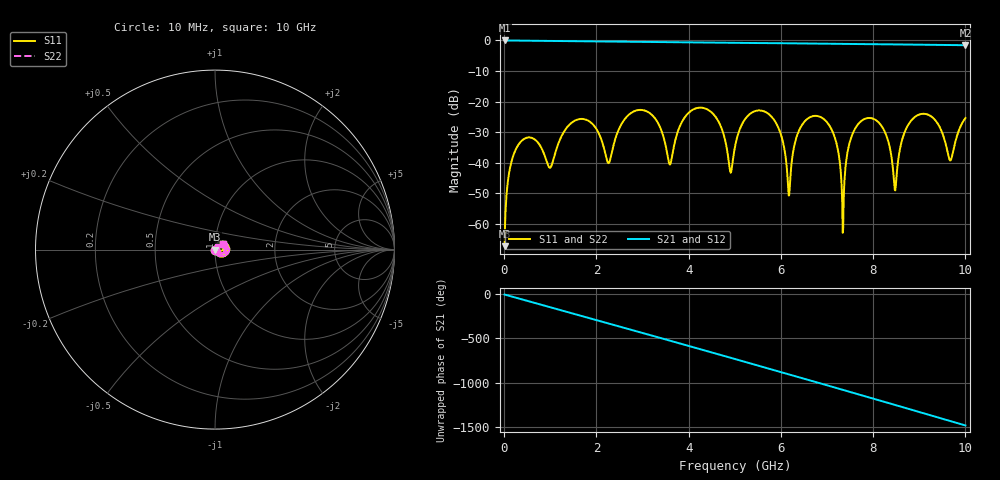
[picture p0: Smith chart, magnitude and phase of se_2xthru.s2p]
! Created with skrf (http://scikit-rf.org).
# GHz S RI R 50.0
!freq ReS11 ImS11 ReS21 ImS21 ReS12 ImS12 ReS22 ImS22
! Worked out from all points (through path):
!   1000 points, 10 MHz to 10 GHz, reference 50 ohm
!   highest |S21| = 0.00 dB at 10 MHz (marker M1); lowest = -1.6 dB at 10 GHz (marker M2)
!   group delay of S21, straight-line fit = 413 ps
!   lowest |S11| = -67.3 dB at 10 MHz (marker M3), VSWR 1.00, Z = 50 + j0.0409 ohm
!   |S11| at or under -10 dB: start of sweep to end of sweep
!   |S22| runs from -67.3 to -22.0 dB; largest |S21 - S12| = 5.3e-08
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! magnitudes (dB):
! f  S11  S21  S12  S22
! 10 MHz  -67.3  0.0  0.0  -67.3
! 120 MHz  -42.2  0.0  0.0  -42.2
! 320 MHz  -33.9  -0.1  -0.1  -33.9
! 1 GHz  -41.6  -0.2  -0.2  -41.6
! 1.68 GHz  -25.7  -0.3  -0.3  -25.7
! 2.26 GHz  -40.1  -0.3  -0.3  -40.1
! 2.74 GHz  -23.8  -0.4  -0.4  -23.8
! 3.34 GHz  -27.1  -0.5  -0.5  -27.1
! 3.59 GHz  -40.6  -0.5  -0.5  -40.6
! 4.19 GHz  -22.1  -0.7  -0.7  -22.1
! 5.01 GHz  -34.3  -0.8  -0.8  -34.3
! 5.7 GHz  -23.7  -0.9  -0.9  -23.7
! 6.18 GHz  -50.5  -0.9  -0.9  -50.5
! 6.67 GHz  -24.8  -1.0  -1.0  -24.8
! 7.13 GHz  -30.1  -1.1  -1.1  -30.1
! 7.34 GHz  -62.9  -1.1  -1.1  -62.9
! 7.7 GHz  -26.9  -1.2  -1.2  -26.9
! 8.34 GHz  -33.7  -1.3  -1.3  -33.7
! 8.48 GHz  -49.0  -1.3  -1.3  -49.0
! 8.89 GHz  -25.2  -1.4  -1.4  -25.2
! 9.67 GHz  -39.2  -1.5  -1.5  -39.2
! 10 GHz  -25.4  -1.6  -1.6  -25.4
